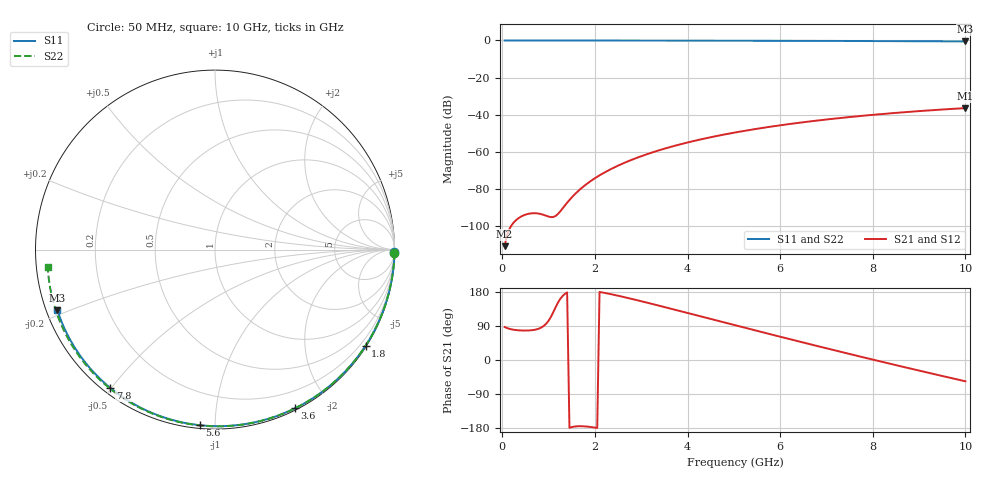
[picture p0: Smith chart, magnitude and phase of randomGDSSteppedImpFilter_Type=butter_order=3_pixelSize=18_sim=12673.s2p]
! freq	dB(S11)	phase(S11)	dB(S12)	phase(S12)
!  dB(S21)	phase(S21)	dB(S22)	phase(S22)
!S-par simulation data
#  GHz  S  DB  R 50
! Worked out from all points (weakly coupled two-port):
!   200 points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, 50 MHz to 10 GHz, reference 50 ohm
!   highest |S21| = -36.40 dB at 10 GHz (marker M1); lowest = -110.7 dB at 50 MHz (marker M2)
!   lowest |S11| = -0.5 dB at 10 GHz (marker M3), VSWR 32.72, Z = 1.58 - j9.3 ohm
!   |S11| at or under -10 dB: nowhere
!   |S22| runs from -0.6 to 0.0 dB; largest |S21 - S12| = 0
!   S11 on the Smith chart (normalised r, x): 50 MHz: open; 1.8 GHz: 0.03, -3.43; 3.6 GHz: 0.02, -1.62; 5.6 GHz: 0.02, -0.92; 7.8 GHz: 0.02, -0.50; 10 GHz: 0.03, -0.19
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0.05  -0.00 -0.9  -110.69 87.1  -110.69 87.1  -0.00 -1.0
0.4  -0.01 -7.3  -94.85 78.0  -94.85 78.0  -0.01 -8.1
0.8  -0.02 -14.6  -93.22 83.2  -93.22 83.2  -0.02 -16.1
1.2  -0.03 -21.8  -93.41 150.9  -93.41 150.9  -0.03 -24.1
1.65  -0.04 -29.9  -80.76 -174.8  -80.76 -174.8  -0.04 -32.9
1.7  -0.04 -30.7  -79.67 -174.7  -79.67 -174.7  -0.04 -33.9
1.75  -0.04 -31.6  -78.63 -174.9  -78.63 -174.9  -0.04 -34.9
1.8  -0.04 -32.5  -77.65 -175.3  -77.65 -175.3  -0.05 -35.8
2.1  -0.05 -37.8  -72.59 179.6  -72.59 179.6  -0.05 -41.6
2.5  -0.06 -44.7  -67.36 169.6  -67.36 169.6  -0.06 -49.2
2.9  -0.07 -51.6  -63.20 158.1  -63.20 158.1  -0.07 -56.7
3.4  -0.08 -60.0  -58.99 142.9  -58.99 142.9  -0.09 -65.9
3.6  -0.08 -63.3  -57.53 136.7  -57.53 136.7  -0.09 -69.5
4.3  -0.11 -74.7  -53.15 114.6  -53.15 114.6  -0.12 -81.9
5.05  -0.13 -86.5  -49.42 91.0  -49.42 91.0  -0.15 -94.7
5.6  -0.16 -94.9  -47.13 73.8  -47.13 73.8  -0.17 -103.8
6.15  -0.18 -103.1  -45.14 56.8  -45.14 56.8  -0.20 -112.7
6.7  -0.22 -111.2  -43.39 40.0  -43.39 40.0  -0.24 -121.5
7.8  -0.30 -127.1  -40.48 6.9  -40.48 6.9  -0.32 -138.9
8.35  -0.35 -135.0  -39.27 -9.2  -39.27 -9.2  -0.37 -147.5
9.2  -0.43 -147.2  -37.66 -33.7  -37.66 -33.7  -0.47 -161.1
10  -0.53 -158.9  -36.40 -56.2  -36.40 -56.2  -0.57 -174.2
